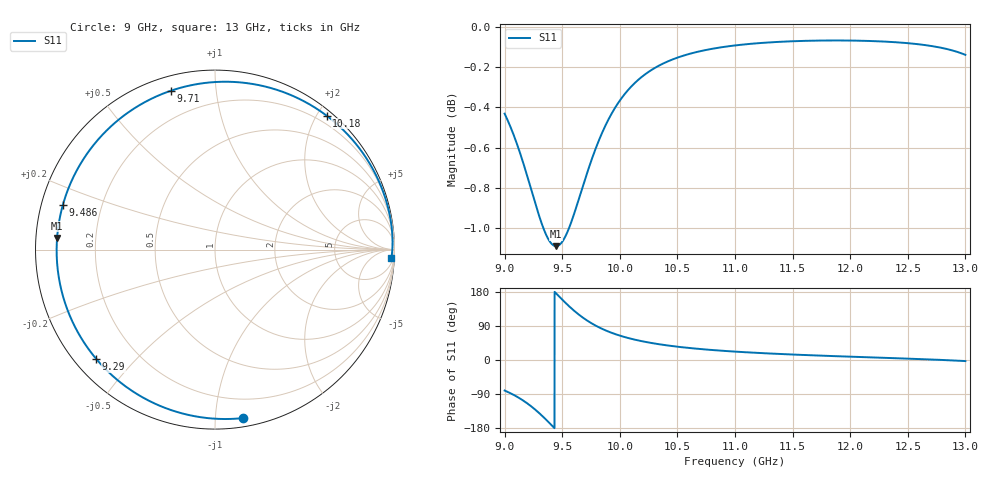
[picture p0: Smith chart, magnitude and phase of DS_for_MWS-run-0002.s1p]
! TOUCHSTONE file generated by CST DESIGN STUDIO
! Date and time: Wed Feb  5 13:39:06 2025
! Project name: C:\Work\MatlabApps\UnitCellOptimizationMatlab\CST\unitcell.cst
! Tree item: Tasks\Sweep1\SPara1\S-Parameters
! Header version: 2024
! Port assignment regex: !\s*Touchstone port\s*([0-9]+)\s*=\s*(CST MWS port|CST DES external port|CST DES block port)\s*(.+)\s* \(\"(.*)\"\)(\s*mode\s*([0-9]+))?.*
! Touchstone port assignment:
! Touchstone port 1 = CST DES external port 1 ("")
# GHz S MA R 50
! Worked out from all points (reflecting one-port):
!   4001 points, 9 GHz to 13 GHz, reference 50 ohm
!   lowest |S11| = -1.1 dB at 9.447 GHz (marker M1), VSWR 15.98, Z = 3.13 + j1.84 ohm
!   phase of S11 starts at -81 deg and turns -282 deg over the sweep
!   S11 on the Smith chart (normalised r, x): 9 GHz: 0.06, -1.18; 9.29 GHz: 0.06, -0.39; 9.486 GHz: 0.06, +0.14; 9.71 GHz: 0.07, +0.76; 10.18 GHz: 0.08, +2.13; 13 GHz: 12, -36
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9  0.9516 -80.6
9.089  0.9384 -93.7
9.162  0.9251 -107.1
9.228  0.9118 -121.6
9.29  0.8994 -137.3
9.373  0.8865 -161.3
9.41  0.8833 -172.7
9.447  0.8822 175.8
9.486  0.8834 163.6
9.5  0.8844 159.4
9.554  0.8906 143.4
9.605  0.899 129.6
9.656  0.9085 117.1
9.71  0.9188 105.4
9.776  0.9305 93.1
9.853  0.9422 81.3
9.924  0.9511 72.3
10  0.9588 64.4
10.086  0.9656 57.0
10.182  0.9714 50.2
10.327  0.9777 42.2
10.5  0.9826 35.1
10.723  0.9866 28.3
11  0.9895 22.1
11.5  0.9918 14.4
12  0.9922 8.8
12.5  0.9907 3.6
13  0.9842 -2.8
